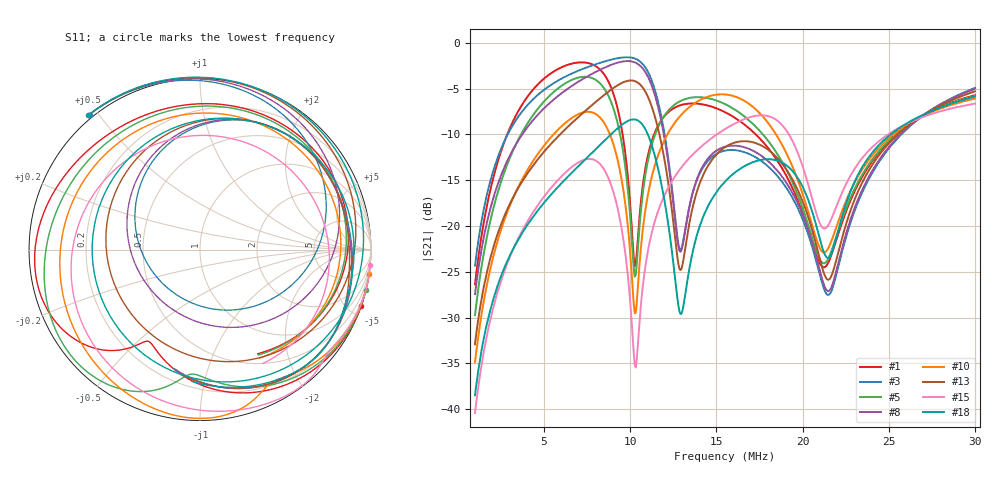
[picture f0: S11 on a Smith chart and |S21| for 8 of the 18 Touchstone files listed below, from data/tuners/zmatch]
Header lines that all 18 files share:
# HZ S RI R 50
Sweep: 1 MHz to 30 MHz
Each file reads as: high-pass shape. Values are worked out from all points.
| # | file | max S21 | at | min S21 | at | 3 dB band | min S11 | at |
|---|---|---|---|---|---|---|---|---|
| 1 | zmatch-L1-T7-F.s2p | -2.13 dB | 7.214 MHz | -26.4 dB | 1 MHz | 4.395 MHz-8.941 MHz | -4.2 dB | 7.214 MHz |
| 2 | zmatch-L1-T7-R.s2p | -2.55 dB | 7.675 MHz | -25.5 dB | 10.26 MHz | 4.567 MHz-8.998 MHz | -5.2 dB | 7.675 MHz |
| 3 | zmatch-L1-T9-R.s2p | -1.57 dB | 9.804 MHz | -27.5 dB | 21.48 MHz | 5.431 MHz-11.3 MHz | -10.6 dB | 10.21 MHz |
| 4 | zmatch-L3-T5-R.s2p | -5.52 dB | 13.14 MHz | -31.6 dB | 7.79 MHz | 9.689 MHz-17.23 MHz | -3.3 dB | 28.79 MHz |
| 5 | zmatch-L3-T7-F.s2p | -3.70 dB | 7.387 MHz | -29.7 dB | 1 MHz | 4.913 MHz-8.941 MHz | -3.0 dB | 30 MHz |
| 6 | zmatch-L3-T7-R.s2p | -3.65 dB | 7.79 MHz | -27.6 dB | 1 MHz | 5.2 MHz-9.056 MHz | -3.8 dB | 7.847 MHz |
| 7 | zmatch-L3-T9-F.s2p | -1.74 dB | 9.401 MHz | -29.6 dB | 1 MHz | 6.006 MHz-11.24 MHz | -5.5 dB | 9.631 MHz |
| 8 | zmatch-L3-T9-R.s2p | -1.99 dB | 9.861 MHz | -27.4 dB | 1 MHz | 6.409 MHz-11.3 MHz | -8.6 dB | 10.21 MHz |
| 9 | zmatch-L5-T5-R.s2p | -5.66 dB | 14.98 MHz | -35.3 dB | 7.79 MHz | 11.07 MHz-18.15 MHz | -2.4 dB | 15.1 MHz |
| 10 | zmatch-L5-T7-F.s2p | -5.62 dB | 15.33 MHz | -34.9 dB | 1 MHz | 12.68 MHz-17.92 MHz | -2.8 dB | 30 MHz |
| 11 | zmatch-L5-T7-R.s2p | -4.85 dB | 30 MHz | -32.7 dB | 1 MHz | 26.14 MHz-30 MHz | -2.9 dB | 30 MHz |
| 12 | zmatch-L5-T9-F.s2p | -4.63 dB | 9.689 MHz | -35.0 dB | 1 MHz | 7.042 MHz-11.18 MHz | -2.9 dB | 30 MHz |
| 13 | zmatch-L5-T9-R.s2p | -4.10 dB | 10.03 MHz | -32.9 dB | 1 MHz | 7.617 MHz-11.24 MHz | -5.4 dB | 10.49 MHz |
| 14 | zmatch-L7-T5-R.s2p | -7.85 dB | 17.34 MHz | -40.6 dB | 7.79 MHz | 13.26 MHz-19.47 MHz | -1.5 dB | 17.69 MHz |
| 15 | zmatch-L7-T7-F.s2p | -6.63 dB | 30 MHz | -40.4 dB | 1 MHz | 25.28 MHz-30 MHz | -3.5 dB | 20.22 MHz |
| 16 | zmatch-L7-T7-R.s2p | -5.40 dB | 30 MHz | -38.3 dB | 1 MHz | 25.57 MHz-30 MHz | -2.5 dB | 30 MHz |
| 17 | zmatch-L7-T9-F.s2p | -6.36 dB | 30 MHz | -40.7 dB | 1 MHz | 25.91 MHz-30 MHz | -2.8 dB | 21.54 MHz |
| 18 | zmatch-L7-T9-R.s2p | -5.84 dB | 30 MHz | -38.5 dB | 1 MHz | 26.03 MHz-30 MHz | -4.0 dB | 10.84 MHz |
